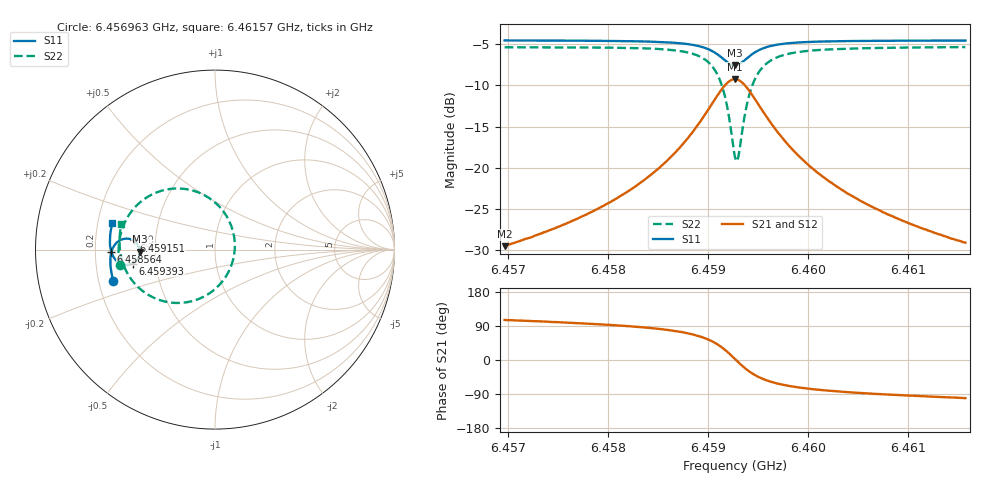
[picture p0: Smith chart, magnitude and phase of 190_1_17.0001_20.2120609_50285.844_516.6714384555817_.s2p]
#  HZ  S  RI  R  50.00
! Rohde & Schwarz Vector Network Analyzer
! Rohde-Schwarz,ZNB20-2Port,1311601062101988,3.16
! Created: UTC 3/20/2024, 11:00:36 PM
! freq[Hz]  re:S11  im:S11  re:S21  im:S21  re:S12  im:S12  re:S22  im:S22
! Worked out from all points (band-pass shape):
!   401 points, 6.456963 GHz to 6.46157 GHz, reference 50 ohm
!   highest |S21| = -9.25 dB at 6.459267 GHz (marker M1); lowest = -29.5 dB at 6.456963 GHz (marker M2)
!   |S21| within 3 dB of the highest: 6.459036 GHz to 6.459497 GHz (461.4 kHz wide, 0.00714 % of centre)
!   lowest |S11| = -7.6 dB at 6.459267 GHz (marker M3), VSWR 2.44, Z = 20.5 - j0.594 ohm
!   |S11| at or under -10 dB: nowhere
!   |S22| runs from -19.2 to -5.4 dB; largest |S21 - S12| = 0.013
!   S11 on the Smith chart (normalised r, x): 6.456963 GHz: 0.26, -0.14; 6.458564 GHz: 0.27, -0.01; 6.459151 GHz: 0.37, +0.05; 6.459393 GHz: 0.37, -0.07; 6.46157 GHz: 0.26, +0.12
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6.4569629e9  -0.5659 -0.1743  -0.00904 0.0323  -0.00732 0.0323  -0.5311 -0.0884
6.4577347e9  -0.5802 -0.1069  -0.00594 0.0504  -0.00339 0.0497  -0.5373 0.00178
6.4581724e9  -0.5834 -0.0632  0.000207 0.0706  0.00354 0.0691  -0.529 0.0714
6.4585064e9  -0.5795 -0.0231  0.0139 0.0987  0.0177 0.096  -0.5045 0.1469
6.458564e9  -0.5778 -0.0152  0.0181 0.1056  0.0221 0.1026  -0.4965 0.1636
6.4587714e9  -0.5649 0.0171  0.0455 0.1381  0.0495 0.1332  -0.4455 0.2365
6.4589211e9  -0.5423 0.0434  0.0906 0.1687  0.0938 0.1622  -0.3623 0.3012
6.4590593e9  -0.4985 0.0611  0.1776 0.1854  0.1785 0.1782  -0.2034 0.3405
6.4591515e9  -0.454 0.0509  0.2676 0.1545  0.2678 0.1488  -0.0372 0.2905
6.4592206e9  -0.4249 0.0189  0.3279 0.0829  0.3301 0.0777  0.0779 0.1619
6.4592667e9  -0.4179 -0.012  0.3445 0.0153  0.3481 0.00851  0.1104 0.0358
6.4592782e9  -0.4185 -0.02  0.3442 -0.00244  0.3482 -0.00984  0.1101 0.00247
6.4593012e9  -0.4219 -0.0355  0.3387 -0.037  0.3426 -0.0459  0.0993 -0.0631
6.4593473e9  -0.4374 -0.0617  0.3104 -0.0968  0.3127 -0.1085  0.0422 -0.1759
6.4593934e9  -0.4594 -0.0779  0.2689 -0.1377  0.2681 -0.1509  -0.0419 -0.2507
6.4594855e9  -0.5025 -0.0848  0.1845 -0.1692  0.1785 -0.1805  -0.2095 -0.2974
6.4596353e9  -0.5465 -0.0646  0.0968 -0.1558  0.0884 -0.1619  -0.3767 -0.249
6.4598081e9  -0.5691 -0.0351  0.0497 -0.1265  0.0423 -0.1289  -0.4609 -0.1731
6.4600384e9  -0.5809 -0.00146  0.0226 -0.0969  0.0171 -0.0975  -0.5056 -0.0957
6.4603494e9  -0.5855 0.0357  0.00762 -0.0723  0.00349 -0.0719  -0.5263 -0.0233
6.4608102e9  -0.5839 0.0823  -0.00123 -0.0518  -0.00396 -0.051  -0.5319 0.0512
6.4615704e9  -0.5718 0.1497  -0.00648 -0.0346  -0.00803 -0.0337  -0.5211 0.1409
